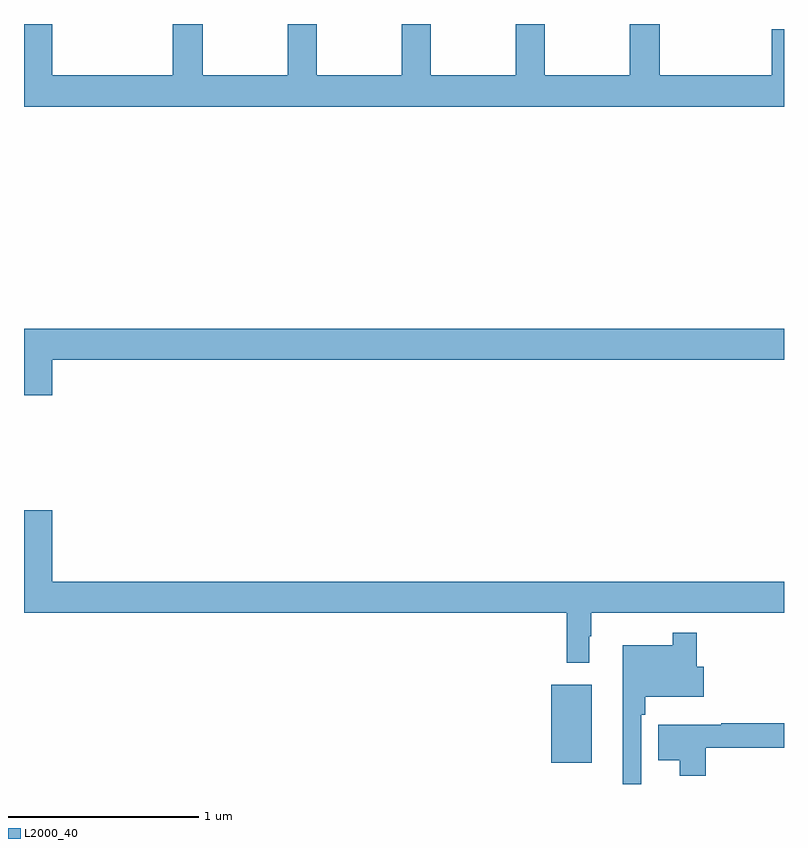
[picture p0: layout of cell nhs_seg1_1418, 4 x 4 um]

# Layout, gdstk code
import gdstk
lib = gdstk.Library(unit=1e-6, precision=1e-09)
def R(c, l, rs):  # rectangles x0, y0, x1, y1
    for r in rs: c.add(gdstk.rectangle(r[:2], r[2:], *l))
def P(c, l, *ps):  # polygons
    for p in ps: c.add(gdstk.Polygon(p, *l))
L2000_40 = (2000, 40)

nhs_seg1_1418 = lib.new_cell('nhs_seg1_1418')
R(nhs_seg1_1418, L2000_40, [(191.774,516.311,191.989,516.721)])
P(nhs_seg1_1418, L2000_40, [(193,520.171),(192.935,520.171),(192.935,519.928),(192.347,519.928),(192.347,520.199),(192.187,520.199),(192.187,519.928),(191.742,519.928),(191.742,520.199),(191.587,520.199),(191.587,519.928),(191.142,519.928),(191.142,520.199),(190.987,520.199),(190.987,519.928),(190.542,519.928),(190.542,520.199),(190.387,520.199),(190.387,519.928),(189.942,519.928),(189.942,520.199),(189.782,520.199),(189.782,519.928),(189.148,519.928),(189.148,520.199),(189,520.199),(189,519.764),(193,519.764)],
  [(189.148,518.432),(193,518.432),(193,518.596),(189,518.596),(189,518.244),(189.148,518.244)],
  [(191.974,516.977),(191.986,516.977),(191.986,517.1),(193,517.1),(193,517.264),(189.148,517.264),(189.148,517.639),(189,517.639),(189,517.1),(191.857,517.1),(191.857,516.837),(191.974,516.837)],
  [(192.249,516.563),(192.269,516.563),(192.269,516.659),(192.577,516.659),(192.577,516.817),(192.542,516.817),(192.542,516.994),(192.414,516.994),(192.414,516.928),(192.152,516.928),(192.152,516.199),(192.249,516.199)],
  [(192.587,516.39),(193,516.39),(193,516.518),(192.67,516.518),(192.67,516.511),(192.338,516.511),(192.338,516.323),(192.452,516.323),(192.452,516.242),(192.587,516.242)])

lib.write_gds('nhs_seg1_1418.gds')
